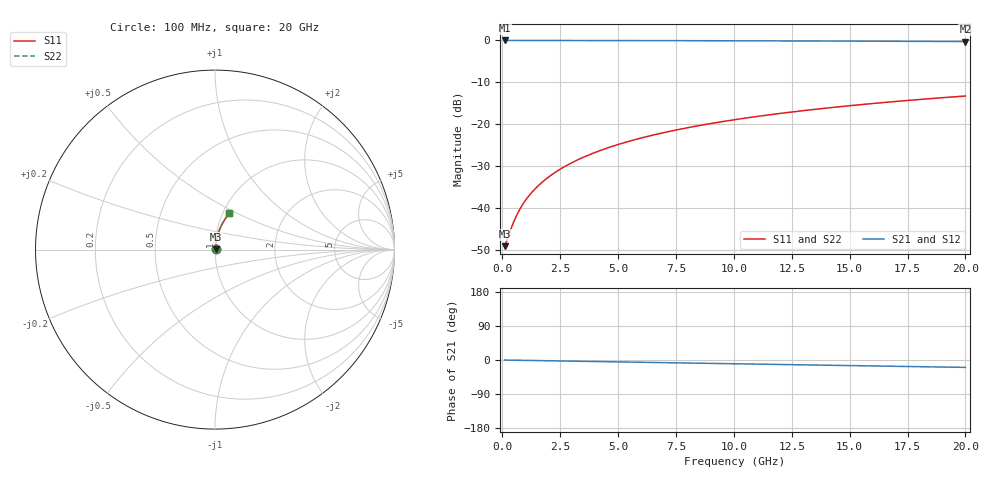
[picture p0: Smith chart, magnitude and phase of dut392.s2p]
! Touchstone file exported from HFSS 2026.1.0
!  File:  C:/ffzhzh/LocalFiles/Ansys_Project_Files/temp_train_BSMRDL_392_1783012178_46388.aedt
!  Generated:  01:11:08 AM Jul  3, 2026
!  Design:  BSMRDL
!  Project:  temp_train_BSMRDL_392_1783012178_46388
! Variables:
!  h_bsmrdl = 2.43um
!  h_ox = 20um
!  h_rdl = 5um
!  h_sub = 80um
!  h_tmrdl = 5um
!  h_tsv = 80um
!  h_via = 3um
!  l_bsmrdl = 246.24um
!  l_sub = 646.24um
!  l_tmrdl = 200um
!  m_sub = 200um
!  pitch = 30.98um
!  r_tsv = 6um
!  s_tmrdl = 10um
!  w_bsmrdl = 11.46um
!  w_sub = 500um
!  w_tmrdl = 12um
!  x_tsv_center1 = 206um
!  x_tsv_center2 = 463.7um
!  x_tsv_center3 = 675.7um
!  x_tsv_center4 = 933.4um
!  x_tsv_center5 = 1145.4um
!  x_tsv_center6 = 1403.1um
# GHz S MA R 50.000000
! Terminal data exported
! Port[1] = BSM_RDL1_1_T1
! Port[2] = BSM_RDL1_1_T2
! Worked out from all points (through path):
!   200 points, 100 MHz to 20 GHz, reference 50 ohm
!   highest |S21| = -0.03 dB at 100 MHz (marker M1); lowest = -0.3 dB at 20 GHz (marker M2)
!   group delay of S21, straight-line fit = 2.71 ps
!   lowest |S11| = -49.0 dB at 100 MHz (marker M3), VSWR 1.01, Z = 50.3 + j0.123 ohm
!   |S11| at or under -10 dB: start of sweep to end of sweep
!   |S22| runs from -49.0 to -13.2 dB; largest |S21 - S12| = 3.3e-15
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0.1  0.003557 20.1  0.9967 -0.1  0.9967 -0.1  0.003557 20.1
! Gamma 0 0 0 0
! Port Impedance 50 0 50 0
0.2  0.004158 36.0  0.9966 -0.2  0.9966 -0.2  0.004158 36.0
0.4  0.005959 54.5  0.9965 -0.4  0.9965 -0.4  0.00596 54.5
0.5  0.006993 59.7  0.9965 -0.5  0.9965 -0.5  0.006994 59.7
0.7  0.009151 66.3  0.9964 -0.7  0.9964 -0.7  0.009153 66.3
0.8  0.01025 68.5  0.9963 -0.8  0.9963 -0.8  0.01025 68.5
1  0.01247 71.7  0.9962 -1.0  0.9962 -1.0  0.01247 71.7
1.3  0.01581 74.7  0.996 -1.3  0.996 -1.3  0.01581 74.7
1.7  0.02029 77.1  0.9959 -1.7  0.9959 -1.7  0.02029 77.1
2.2  0.02591 78.8  0.9956 -2.2  0.9956 -2.2  0.02591 78.8
2.8  0.03269 79.9  0.9954 -2.8  0.9954 -2.8  0.03269 79.9
3.5  0.04061 80.5  0.995 -3.5  0.995 -3.5  0.04061 80.5
4.2  0.04854 80.6  0.9945 -4.2  0.9945 -4.2  0.04854 80.6
5  0.0576 80.5  0.9939 -5.0  0.9939 -5.0  0.05759 80.5
5.9  0.06775 80.1  0.993 -5.9  0.993 -5.9  0.06775 80.1
6.8  0.07786 79.6  0.9921 -6.8  0.9921 -6.8  0.07786 79.6
8.3  0.09458 78.6  0.9903 -8.3  0.9903 -8.3  0.09458 78.6
10.1  0.1144 77.1  0.9878 -10.1  0.9878 -10.1  0.1144 77.1
11.7  0.1318 75.7  0.9852 -11.6  0.9852 -11.6  0.1318 75.7
13.4  0.15 74.2  0.9822 -13.3  0.9822 -13.3  0.15 74.3
16.7  0.1844 71.3  0.9755 -16.4  0.9755 -16.4  0.1844 71.3
20  0.2176 68.3  0.9679 -19.5  0.9679 -19.5  0.2175 68.4
